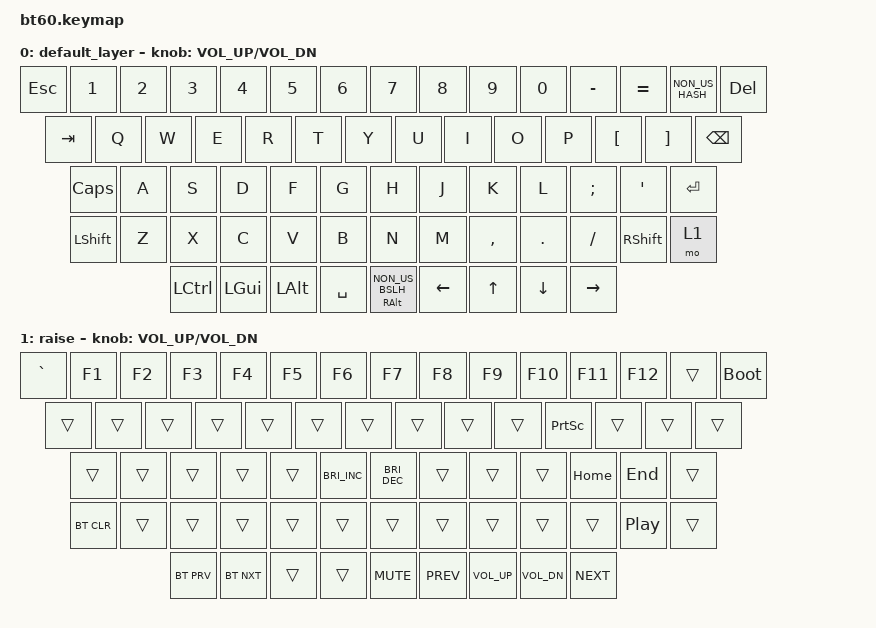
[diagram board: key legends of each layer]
#include <behaviors.dtsi>
#include <dt-bindings/zmk/keys.h>
#include <dt-bindings/zmk/bt.h>

/ {
	keymap {
		compatible = "zmk,keymap";

		default_layer {
				// ------------------------------------------------------------------------------------------
				// | ESC |  1  |  2  |  3  |  4  |  5  |  6  |  7  |  8  |  9  |  0  |  -  |  =  |  #  | DEL |
				// | TAB  |  Q  |  W  |  E  |  R  |  T  |  Y  |  U  |  I  |  O  |  P  |  [  |  ]  |   BSPC   |
				// | CAPS  |  A  |  S  |  D  |  F  |  G  |  H  |  J  |  K  |  L  |  ;  |  '  |     ENTER     |
				// |  SHIFT    |  Z  |  X  |  C  |  V  |  B  |  N  |  M  |  ,  |  .  | /  |    SHIFT    | FN |
				// |  CTL  |  WIN  |  ALT  |           SPACE           | ALT/<> |  LEFT  | DOWN | UP | RIGHT |
				// ------------------------------------------------------------------------------------------
			bindings = <
				&kp ESC &kp N1 &kp N2 &kp N3 &kp N4 &kp N5 &kp N6 &kp N7 &kp  N8   &kp  N9 &kp  N0  &kp MINUS &kp EQUAL &kp NON_US_HASH &kp DEL
				&kp TAB  &kp Q  &kp W  &kp E  &kp R  &kp T  &kp Y  &kp U  &kp  I    &kp  O  &kp  P   &kp LBKT  &kp RBKT                 &kp BSPC
				&kp CAPS  &kp A  &kp S  &kp D  &kp F  &kp G  &kp H  &kp J  &kp  K    &kp  L  &kp SEMI  &kp APOS                         &kp ENTER
				&kp LSHFT  &kp Z  &kp X  &kp C  &kp V  &kp B  &kp N  &kp M  &kp COMMA &kp DOT  &kp SLASH           &kp RSHFT            &mo 1
				&kp LCTRL &kp LGUI &kp LALT                &kp SPACE                &mt RALT NON_US_BSLH &kp LEFT &kp UP     &kp DOWN   &kp RIGHT
			>;
			sensor-bindings = <&inc_dec_kp C_VOL_UP C_VOL_DN>;
		};
		raise {
			bindings = <
				&kp GRAVE &kp F1 &kp F2 &kp F3 &kp F4 &kp   F5      &kp   F6      &kp F7 &kp F8 &kp F9 &kp F10   &kp F11  &kp F12    &trans  &bootloader
				&trans     &trans &trans &trans &trans &trans        &trans        &trans &trans &trans &kp PSCRN &trans    &trans           &trans
				&trans      &trans &trans &trans &trans &kp C_BRI_INC &kp C_BRI_DEC &trans &trans &trans &kp HOME  &kp END                   &trans
				&bt BT_CLR   &trans &trans &trans &trans &trans        &trans        &trans &trans &trans &trans          &kp C_PP           &trans
				&bt BT_PRV &bt BT_NXT  &trans                    &trans                      &kp C_MUTE &kp C_PREV &kp C_VOL_UP &kp C_VOL_DN &kp C_NEXT
			>;
			sensor-bindings = <&inc_dec_kp C_VOL_UP C_VOL_DN>;
		};
	};
};
